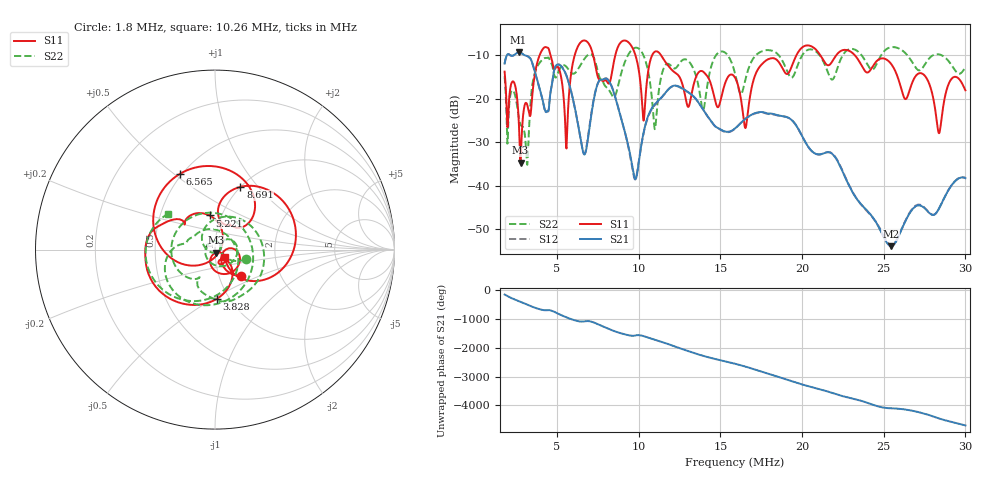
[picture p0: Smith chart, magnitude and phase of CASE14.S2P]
!Agilent Technologies,E5061B,MY49101568,A.02.00
!Date: Wed Mar 01 15:04:42 2023
!Data & Calibration Information:
!Freq	S11:SOLT2(OFF)	S21:SOLT2(OFF)	S12:SOLT2(OFF)	S22:SOLT2(OFF)
# Hz S dB R 50
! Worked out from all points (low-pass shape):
!   1155 points, 1.8 MHz to 30 MHz, reference 50 ohm
!   highest |S21| = -9.27 dB at 2.655 MHz (marker M1); lowest = -53.9 dB at 25.43 MHz (marker M2)
!   |S21| within 3 dB of the highest: start of sweep to 3.534 MHz; 4.964 MHz to 5.185 MHz (220.2 kHz wide, 4.34 % of centre)
!   lowest |S11| = -34.7 dB at 2.777 MHz (marker M3), VSWR 1.04, Z = 50.8 - j1.67 ohm
!   |S11| at or under -10 dB: start of sweep to 3.939 MHz; 11.38 MHz to 19.65 MHz (8.274 MHz wide, 53.3 % of centre); 23.24 MHz to end of sweep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
!   |S22| runs from -35.2 to -8.1 dB; largest |S21 - S12| = 0.0041
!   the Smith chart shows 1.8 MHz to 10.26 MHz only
!   S11 on the Smith chart (normalised r, x): 1.8 MHz: 1.27, -0.39; 3.828 MHz: 0.88, -0.52; 5.221 MHz: 0.88, +0.35; 6.565 MHz: 0.49, +0.52; 8.691 MHz: 1.00, +0.81; 10.26 MHz: 1.11, -0.09
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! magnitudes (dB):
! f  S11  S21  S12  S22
! 1.8 MHz  -13.7  -11.9  -11.9  -14.8
! 2.655 MHz  -24.3  -9.3  -9.3  -23.9
! 2.777 MHz  -34.7  -9.4  -9.4  -26.0
! 3.193 MHz  -21.5  -10.2  -10.2  -35.2
! 3.828 MHz  -11.2  -16.1  -16.2  -12.3
! 5.221 MHz  -14.3  -12.4  -12.3  -12.8
! 5.588 MHz  -31.4  -14.7  -14.7  -12.6
! 6.516 MHz  -6.8  -30.7  -30.7  -11.8
! 6.565 MHz  -6.6  -31.7  -31.6  -11.5
! 7.616 MHz  -15.6  -15.7  -15.7  -15.2
! 8.691 MHz  -8.5  -21.3  -21.1  -17.8
! 9.742 MHz  -9.2  -38.0  -38.3  -8.3
! 10.26 MHz  -23.3  -28.8  -28.8  -9.6
! 11.21 MHz  -9.3  -20.4  -20.6  -19.0
! 13.02 MHz  -21.8  -18.4  -18.5  -11.2
! 15.9 MHz  -15.1  -26.8  -26.9  -14.1
! 16.54 MHz  -26.7  -24.6  -24.6  -15.6
! 20.62 MHz  -8.0  -32.1  -32.1  -8.7
! 25.31 MHz  -11.4  -53.6  -53.4  -8.3
! 25.43 MHz  -11.8  -53.9  -53.7  -8.1
! 28.39 MHz  -27.9  -45.3  -45.3  -9.8
! 30 MHz  -18.0  -38.3  -38.2  -12.8
